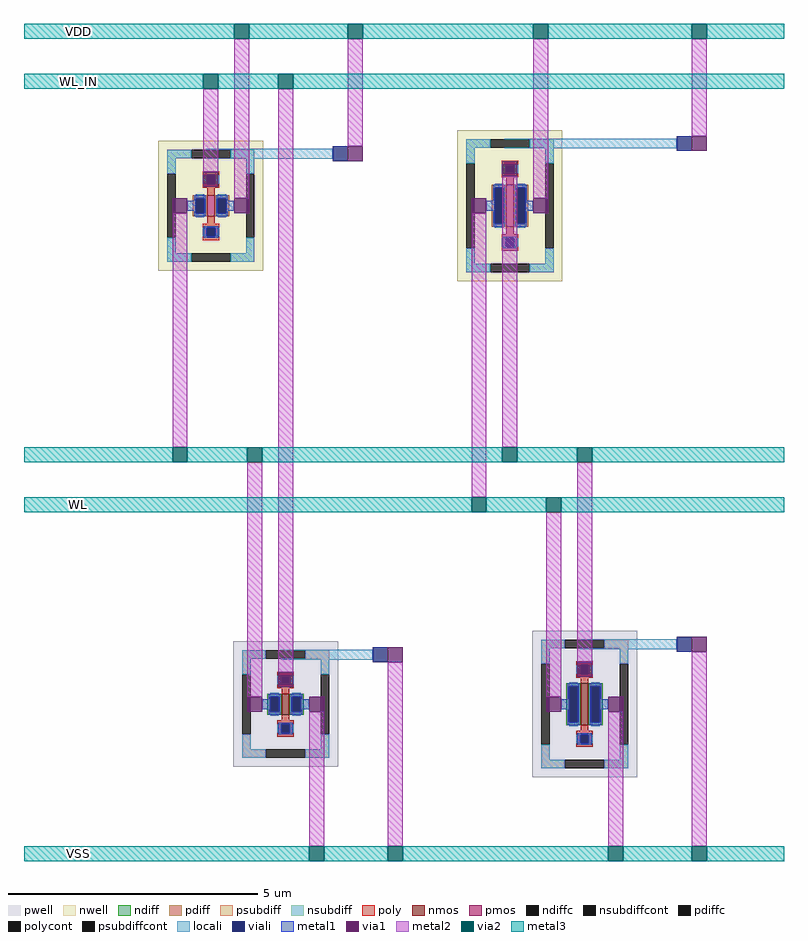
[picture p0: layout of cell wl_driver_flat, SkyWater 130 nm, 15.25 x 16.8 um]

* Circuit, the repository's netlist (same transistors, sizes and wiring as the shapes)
* NGSPICE file created from wl_driver_flat.ext - technology: sky130A

.subckt wl_driver_flat VDD VSS WL_IN WL
X0 VSS WL_IN a_227_n1042# VSS sky130_fd_pr__nfet_01v8 ad=0.1218 pd=1.42 as=0.1218 ps=1.42 w=0.42 l=0.15
X1 VDD WL_IN a_227_n1042# VDD sky130_fd_pr__pfet_01v8 ad=0.1218 pd=1.42 as=0.1218 ps=1.42 w=0.42 l=0.15
X2 VSS a_227_n1042# WL VSS sky130_fd_pr__nfet_01v8 ad=0.2436 pd=2.26 as=0.2436 ps=2.26 w=0.84 l=0.15
X3 VDD a_227_n1042# WL VDD sky130_fd_pr__pfet_01v8 ad=0.2436 pd=2.26 as=0.2436 ps=2.26 w=0.84 l=0.15
.ends

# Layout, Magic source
magic
tech sky130A
magscale 1 2
<< nwell >>
rect 89 -1261 511 -739
rect 1289 -1303 1711 -697
<< pwell >>
rect 389 -3252 811 -2748
rect 1589 -3294 2011 -2706
<< nmos >>
rect 585 -3042 615 -2958
rect 1785 -3084 1815 -2916
<< pmos >>
rect 285 -1042 315 -958
rect 1485 -1084 1515 -916
<< ndiff >>
rect 527 -2970 585 -2958
rect 527 -3030 539 -2970
rect 573 -3030 585 -2970
rect 527 -3042 585 -3030
rect 615 -2970 673 -2958
rect 615 -3030 627 -2970
rect 661 -3030 673 -2970
rect 615 -3042 673 -3030
rect 1727 -2928 1785 -2916
rect 1727 -3072 1739 -2928
rect 1773 -3072 1785 -2928
rect 1727 -3084 1785 -3072
rect 1815 -2928 1873 -2916
rect 1815 -3072 1827 -2928
rect 1861 -3072 1873 -2928
rect 1815 -3084 1873 -3072
<< pdiff >>
rect 227 -970 285 -958
rect 227 -1030 239 -970
rect 273 -1030 285 -970
rect 227 -1042 285 -1030
rect 315 -970 373 -958
rect 315 -1030 327 -970
rect 361 -1030 373 -970
rect 315 -1042 373 -1030
rect 1427 -928 1485 -916
rect 1427 -1072 1439 -928
rect 1473 -1072 1485 -928
rect 1427 -1084 1485 -1072
rect 1515 -928 1573 -916
rect 1515 -1072 1527 -928
rect 1561 -1072 1573 -928
rect 1515 -1084 1573 -1072
<< ndiffc >>
rect 539 -3030 573 -2970
rect 627 -3030 661 -2970
rect 1739 -3072 1773 -2928
rect 1827 -3072 1861 -2928
<< pdiffc >>
rect 239 -1030 273 -970
rect 327 -1030 361 -970
rect 1439 -1072 1473 -928
rect 1527 -1072 1561 -928
<< psubdiff >>
rect 1625 -2776 1721 -2742
rect 1879 -2776 1975 -2742
rect 425 -2818 521 -2784
rect 679 -2818 775 -2784
rect 425 -2880 459 -2818
rect 741 -2880 775 -2818
rect 425 -3182 459 -3120
rect 741 -3182 775 -3120
rect 425 -3216 521 -3182
rect 679 -3216 775 -3182
rect 1625 -2838 1659 -2776
rect 1941 -2838 1975 -2776
rect 1625 -3224 1659 -3162
rect 1941 -3224 1975 -3162
rect 1625 -3258 1721 -3224
rect 1879 -3258 1975 -3224
<< nsubdiff >>
rect 1325 -767 1421 -733
rect 1579 -767 1675 -733
rect 125 -809 221 -775
rect 379 -809 475 -775
rect 125 -871 159 -809
rect 441 -871 475 -809
rect 125 -1191 159 -1129
rect 441 -1191 475 -1129
rect 125 -1225 221 -1191
rect 379 -1225 475 -1191
rect 1325 -829 1359 -767
rect 1641 -829 1675 -767
rect 1325 -1233 1359 -1171
rect 1641 -1233 1675 -1171
rect 1325 -1267 1421 -1233
rect 1579 -1267 1675 -1233
<< psubdiffcont >>
rect 1721 -2776 1879 -2742
rect 521 -2818 679 -2784
rect 425 -3120 459 -2880
rect 741 -3120 775 -2880
rect 521 -3216 679 -3182
rect 1625 -3162 1659 -2838
rect 1941 -3162 1975 -2838
rect 1721 -3258 1879 -3224
<< nsubdiffcont >>
rect 1421 -767 1579 -733
rect 221 -809 379 -775
rect 125 -1129 159 -871
rect 441 -1129 475 -871
rect 221 -1225 379 -1191
rect 1325 -1171 1359 -829
rect 1641 -1171 1675 -829
rect 1421 -1267 1579 -1233
<< poly >>
rect 267 -877 333 -861
rect 267 -911 283 -877
rect 317 -911 333 -877
rect 267 -927 333 -911
rect 285 -958 315 -927
rect 285 -1073 315 -1042
rect 267 -1089 333 -1073
rect 267 -1123 283 -1089
rect 317 -1123 333 -1089
rect 267 -1139 333 -1123
rect 1467 -835 1533 -819
rect 1467 -869 1483 -835
rect 1517 -869 1533 -835
rect 1467 -885 1533 -869
rect 1485 -916 1515 -885
rect 1485 -1115 1515 -1084
rect 1467 -1131 1533 -1115
rect 1467 -1165 1483 -1131
rect 1517 -1165 1533 -1131
rect 1467 -1181 1533 -1165
rect 567 -2886 633 -2870
rect 567 -2920 583 -2886
rect 617 -2920 633 -2886
rect 567 -2936 633 -2920
rect 585 -2958 615 -2936
rect 585 -3064 615 -3042
rect 567 -3080 633 -3064
rect 567 -3114 583 -3080
rect 617 -3114 633 -3080
rect 567 -3130 633 -3114
rect 1767 -2844 1833 -2828
rect 1767 -2878 1783 -2844
rect 1817 -2878 1833 -2844
rect 1767 -2894 1833 -2878
rect 1785 -2916 1815 -2894
rect 1785 -3106 1815 -3084
rect 1767 -3122 1833 -3106
rect 1767 -3156 1783 -3122
rect 1817 -3156 1833 -3122
rect 1767 -3172 1833 -3156
<< polycont >>
rect 283 -911 317 -877
rect 283 -1123 317 -1089
rect 1483 -869 1517 -835
rect 1483 -1165 1517 -1131
rect 583 -2920 617 -2886
rect 583 -3114 617 -3080
rect 1783 -2878 1817 -2844
rect 1783 -3156 1817 -3122
<< locali >>
rect 1480 -733 2170 -730
rect 280 -775 790 -772
rect 125 -809 221 -775
rect 379 -809 790 -775
rect 125 -871 159 -809
rect 280 -812 790 -809
rect 441 -871 475 -812
rect 1325 -767 1421 -733
rect 1579 -767 2170 -733
rect 267 -911 283 -877
rect 317 -911 333 -877
rect 239 -970 273 -954
rect 239 -1046 273 -1030
rect 327 -970 361 -954
rect 327 -1046 361 -1030
rect 267 -1123 283 -1089
rect 317 -1123 333 -1089
rect 125 -1191 159 -1129
rect 441 -1191 475 -1129
rect 125 -1225 221 -1191
rect 379 -1225 475 -1191
rect 1325 -829 1359 -767
rect 1480 -770 2170 -767
rect 1641 -829 1675 -770
rect 1467 -869 1483 -835
rect 1517 -869 1533 -835
rect 1439 -928 1473 -912
rect 1439 -1088 1473 -1072
rect 1527 -928 1561 -912
rect 1527 -1088 1561 -1072
rect 1467 -1165 1483 -1131
rect 1517 -1165 1533 -1131
rect 1325 -1233 1359 -1171
rect 1641 -1233 1675 -1171
rect 1325 -1267 1421 -1233
rect 1579 -1267 1675 -1233
rect 1780 -2742 2170 -2739
rect 580 -2784 950 -2781
rect 425 -2818 521 -2784
rect 679 -2818 950 -2784
rect 425 -2880 459 -2818
rect 580 -2821 950 -2818
rect 741 -2880 775 -2821
rect 1625 -2776 1721 -2742
rect 1879 -2776 2170 -2742
rect 567 -2920 583 -2886
rect 617 -2920 633 -2886
rect 539 -2970 573 -2954
rect 539 -3046 573 -3030
rect 627 -2970 661 -2954
rect 627 -3046 661 -3030
rect 567 -3114 583 -3080
rect 617 -3114 633 -3080
rect 425 -3182 459 -3120
rect 741 -3182 775 -3120
rect 425 -3216 521 -3182
rect 679 -3216 775 -3182
rect 1625 -2838 1659 -2776
rect 1780 -2779 2170 -2776
rect 1941 -2838 1975 -2779
rect 1767 -2878 1783 -2844
rect 1817 -2878 1833 -2844
rect 1739 -2928 1773 -2912
rect 1739 -3088 1773 -3072
rect 1827 -2928 1861 -2912
rect 1827 -3088 1861 -3072
rect 1767 -3156 1783 -3122
rect 1817 -3156 1833 -3122
rect 1625 -3224 1659 -3162
rect 1941 -3224 1975 -3162
rect 1625 -3258 1721 -3224
rect 1879 -3258 1975 -3224
<< viali >>
rect 790 -822 850 -762
rect 283 -911 317 -877
rect 239 -1030 273 -970
rect 327 -1030 361 -970
rect 283 -1123 317 -1089
rect 2170 -780 2230 -720
rect 1483 -869 1517 -835
rect 1439 -1072 1473 -928
rect 1527 -1072 1561 -928
rect 1483 -1165 1517 -1131
rect 950 -2831 1010 -2771
rect 583 -2920 617 -2886
rect 539 -3030 573 -2970
rect 627 -3030 661 -2970
rect 583 -3114 617 -3080
rect 2170 -2789 2230 -2729
rect 1783 -2878 1817 -2844
rect 1739 -3072 1773 -2928
rect 1827 -3072 1861 -2928
rect 1783 -3156 1817 -3122
<< metal1 >>
rect 1433 -928 1479 -916
rect 233 -970 279 -958
rect 233 -980 239 -970
rect 206 -1020 239 -980
rect 233 -1030 239 -1020
rect 273 -1030 279 -970
rect 233 -1042 279 -1030
rect 321 -970 367 -958
rect 321 -1030 327 -970
rect 361 -980 367 -970
rect 361 -1020 394 -980
rect 361 -1030 367 -1020
rect 1433 -980 1439 -928
rect 1406 -1020 1439 -980
rect 321 -1042 367 -1030
rect 1433 -1072 1439 -1020
rect 1473 -1072 1479 -928
rect 271 -1089 329 -1083
rect 1433 -1084 1479 -1072
rect 1521 -928 1567 -916
rect 1521 -1072 1527 -928
rect 1561 -980 1567 -928
rect 1561 -1020 1594 -980
rect 1561 -1072 1567 -1020
rect 1521 -1084 1567 -1072
rect 271 -1123 283 -1089
rect 317 -1123 329 -1089
rect 271 -1129 329 -1123
rect 1471 -1131 1529 -1125
rect 1471 -1165 1483 -1131
rect 1517 -1165 1529 -1131
rect 1471 -1171 1529 -1165
rect 1733 -2928 1779 -2916
rect 533 -2970 579 -2958
rect 533 -2980 539 -2970
rect 506 -3020 539 -2980
rect 533 -3030 539 -3020
rect 573 -3030 579 -2970
rect 533 -3042 579 -3030
rect 621 -2970 667 -2958
rect 621 -3030 627 -2970
rect 661 -2980 667 -2970
rect 661 -3020 694 -2980
rect 661 -3030 667 -3020
rect 1733 -2980 1739 -2928
rect 1706 -3020 1739 -2980
rect 621 -3042 667 -3030
rect 1733 -3072 1739 -3020
rect 1773 -3072 1779 -2928
rect 571 -3080 629 -3074
rect 571 -3114 583 -3080
rect 617 -3114 629 -3080
rect 1733 -3084 1779 -3072
rect 1821 -2928 1867 -2916
rect 1821 -3072 1827 -2928
rect 1861 -2980 1867 -2928
rect 1861 -3020 1894 -2980
rect 1861 -3072 1867 -3020
rect 1821 -3084 1867 -3072
rect 571 -3120 629 -3114
rect 1771 -3122 1829 -3116
rect 1771 -3156 1783 -3122
rect 1817 -3156 1829 -3122
rect 1771 -3162 1829 -3156
<< via1 >>
rect 850 -822 910 -762
rect 2230 -780 2290 -720
rect 1470 -835 1530 -822
rect 270 -877 330 -864
rect 270 -911 283 -877
rect 283 -911 317 -877
rect 317 -911 330 -877
rect 1470 -869 1483 -835
rect 1483 -869 1517 -835
rect 1517 -869 1530 -835
rect 1470 -882 1530 -869
rect 270 -924 330 -911
rect 146 -1030 206 -970
rect 394 -1030 454 -970
rect 1346 -1030 1406 -970
rect 1594 -1030 1654 -970
rect 1010 -2831 1070 -2771
rect 2230 -2789 2290 -2729
rect 1770 -2844 1830 -2831
rect 570 -2886 630 -2873
rect 570 -2920 583 -2886
rect 583 -2920 617 -2886
rect 617 -2920 630 -2886
rect 1770 -2878 1783 -2844
rect 1783 -2878 1817 -2844
rect 1817 -2878 1830 -2844
rect 1770 -2891 1830 -2878
rect 570 -2933 630 -2920
rect 446 -3030 506 -2970
rect 694 -3030 754 -2970
rect 1646 -3030 1706 -2970
rect 1894 -3030 1954 -2970
<< metal2 >>
rect 270 -864 330 -530
rect 394 -970 454 -330
rect 146 -1970 206 -1030
rect 446 -2970 506 -2030
rect 570 -2873 630 -530
rect 850 -762 910 -330
rect 1346 -2170 1406 -1030
rect 1470 -1970 1530 -882
rect 1594 -970 1654 -330
rect 2230 -720 2290 -330
rect 694 -3570 754 -3030
rect 1010 -3570 1070 -2831
rect 1646 -2970 1706 -2230
rect 1770 -2831 1830 -2030
rect 1894 -3570 1954 -3030
rect 2230 -3570 2290 -2789
<< via2 >>
rect 394 -330 454 -270
rect 270 -530 330 -470
rect 850 -330 910 -270
rect 570 -530 630 -470
rect 146 -2030 206 -1970
rect 446 -2030 506 -1970
rect 1594 -330 1654 -270
rect 2230 -330 2290 -270
rect 1470 -2030 1530 -1970
rect 1770 -2030 1830 -1970
rect 1346 -2230 1406 -2170
rect 1646 -2230 1706 -2170
rect 694 -3630 754 -3570
rect 1010 -3630 1070 -3570
rect 1894 -3630 1954 -3570
rect 2230 -3630 2290 -3570
<< metal3 >>
rect -450 -330 394 -270
rect 454 -330 850 -270
rect 910 -330 1594 -270
rect 1654 -330 2230 -270
rect 2290 -330 2600 -270
rect -450 -530 270 -470
rect 330 -530 570 -470
rect 630 -530 2600 -470
rect -450 -2030 146 -1970
rect 206 -2030 446 -1970
rect 506 -2030 1470 -1970
rect 1530 -2030 1770 -1970
rect 1830 -2030 2600 -1970
rect -450 -2230 1346 -2170
rect 1406 -2230 1646 -2170
rect 1706 -2230 2600 -2170
rect -450 -3630 694 -3570
rect 754 -3630 1010 -3570
rect 1070 -3630 1894 -3570
rect 1954 -3630 2230 -3570
rect 2290 -3630 2600 -3570
<< labels >>
rlabel metal3 -255 -325 -205 -275 0 VDD
port 0 n
rlabel metal3 -255 -3625 -205 -3575 0 VSS
port 1 n
rlabel metal3 -255 -525 -205 -475 0 WL_IN
port 2 n
rlabel metal3 -255 -2225 -205 -2175 0 WL
port 3 n
<< end >>
